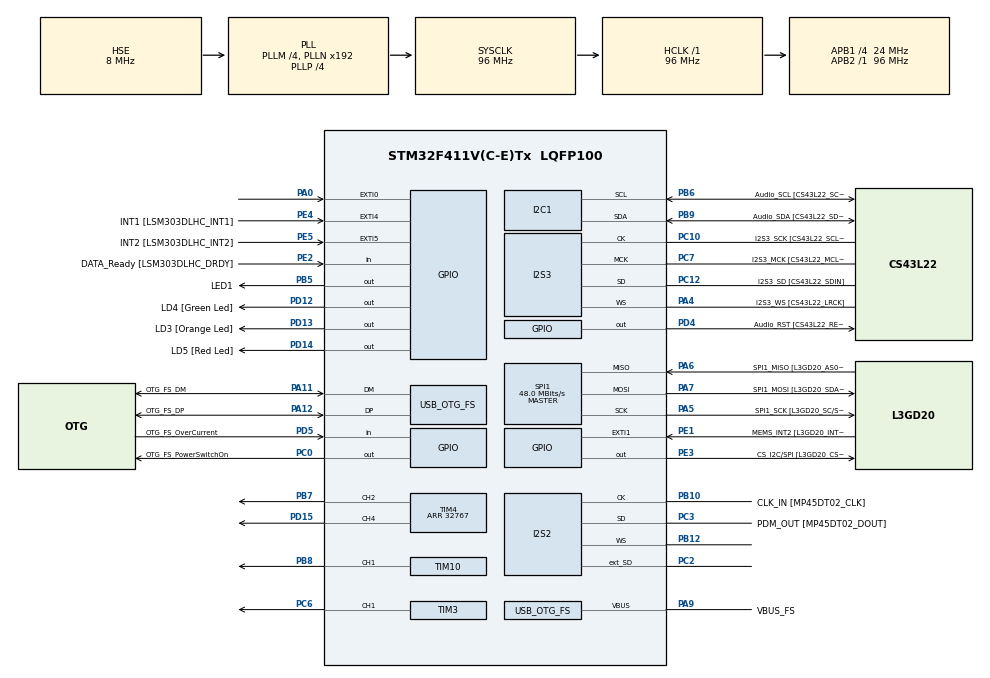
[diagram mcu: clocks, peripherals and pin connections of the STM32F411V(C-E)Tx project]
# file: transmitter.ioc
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I2S2.AudioFreq=I2S_AUDIOFREQ_96K
I2S2.ErrorAudioFreq=0.15 %
I2S2.FullDuplexMode=I2S_FULLDUPLEXMODE_ENABLE
I2S2.Instance=SPI$Index
I2S2.RealAudioFreq=96.153 KHz
I2S2.VirtualMode=I2S_MODE_MASTER
I2S3.AudioFreq=I2S_AUDIOFREQ_96K
I2S3.ErrorAudioFreq=-6.99 %
I2S3.FullDuplexMode=I2S_FULLDUPLEXMODE_DISABLE
I2S3.Instance=SPI$Index
I2S3.RealAudioFreq=89.285 KHz
I2S3.VirtualMode=I2S_MODE_MASTER
Mcu.Family=STM32F4
Mcu.Name=STM32F411V(C-E)Tx
Mcu.Package=LQFP100
NVIC.OTG_FS_IRQn=true\:0\:0\:false\:false\:true\:true\:true
NVIC.PriorityGroup=NVIC_PRIORITYGROUP_0
NVIC.TIM1_UP_TIM10_IRQn=true\:0\:0\:false\:false\:true\:true\:true
NVIC.TIM3_IRQn=true\:0\:0\:false\:false\:true\:true\:true
NVIC.TIM4_IRQn=true\:0\:0\:false\:false\:true\:true\:true
PA0-WKUP.GPIO_ModeDefaultEXTI=GPIO_MODE_EVT_RISING
PA0-WKUP.Signal=GPXTI0
PA10.GPIO_Label=OTG_FS_ID
PA10.Signal=USB_OTG_FS_ID
PA11.GPIO_Label=OTG_FS_DM
PA11.Mode=Host_Only
PA11.Signal=USB_OTG_FS_DM
PA12.GPIO_Label=OTG_FS_DP
PA12.Mode=Host_Only
PA12.Signal=USB_OTG_FS_DP
PA13.GPIO_Label=SWDIO
PA13.Mode=Serial_Wire
PA13.Signal=SYS_JTMS-SWDIO
PA14.GPIO_Label=SWCLK
PA14.Mode=Serial_Wire
PA14.Signal=SYS_JTCK-SWCLK
PA4.GPIO_Label=I2S3_WS [CS43L22_LRCK]
PA4.GPIO_Mode=GPIO_MODE_AF_PP
PA4.GPIO_PuPd=GPIO_NOPULL
PA4.GPIO_Speed=GPIO_SPEED_FREQ_LOW
PA4.Mode=Half_Duplex_Master
PA4.Signal=I2S3_WS
PA5.GPIO_Label=SPI1_SCK [L3GD20_SC/SPC]
PA5.Mode=Full_Duplex_Master
PA5.Signal=SPI1_SCK
PA6.GPIO_Label=SPI1_MISO [L3GD20_AS0/SDO]
PA6.Mode=Full_Duplex_Master
PA6.Signal=SPI1_MISO
PA7.GPIO_Label=SPI1_MOSI [L3GD20_SDA/SDI/SDO]
PA7.Mode=Full_Duplex_Master
PA7.Signal=SPI1_MOSI
PA9.GPIO_Label=VBUS_FS
PA9.Mode=Activate_VBUS
PA9.Signal=USB_OTG_FS_VBUS
PB10.GPIO_Label=CLK_IN [MP45DT02_CLK]
PB10.Mode=Full_Duplex_Master
PB10.Signal=I2S2_CK
PB12.Mode=Full_Duplex_Master
PB12.Signal=I2S2_WS
PB3.GPIO_Label=SWO
PB3.Signal=SYS_JTDO-SWO
PB5.GPIO_Label=LED1
PB5.Signal=GPIO_Output
PB6.GPIO_Label=Audio_SCL [CS43L22_SCL]
PB6.GPIO_Mode=GPIO_MODE_AF_OD
PB6.GPIO_PuPd=GPIO_NOPULL
PB6.GPIO_Speed=GPIO_SPEED_FREQ_LOW
PB6.Mode=I2C
PB6.Signal=I2C1_SCL
PB7.Signal=S_TIM4_CH2
PB8.Signal=S_TIM10_CH1
PB9.GPIO_Label=Audio_SDA [CS43L22_SDA]
PB9.GPIO_Mode=GPIO_MODE_AF_OD
PB9.GPIO_PuPd=GPIO_NOPULL
PB9.GPIO_Speed=GPIO_SPEED_FREQ_LOW
PB9.Mode=I2C
PB9.Signal=I2C1_SDA
PC0.GPIO_Label=OTG_FS_PowerSwitchOn
PC0.PinState=GPIO_PIN_SET
PC0.Signal=GPIO_Output
PC10.GPIO_Label=I2S3_SCK [CS43L22_SCLK]
PC10.GPIO_Mode=GPIO_MODE_AF_PP
PC10.GPIO_PuPd=GPIO_NOPULL
PC10.GPIO_Speed=GPIO_SPEED_FREQ_LOW
PC10.Mode=Half_Duplex_Master
PC10.Signal=I2S3_CK
PC12.GPIO_Label=I2S3_SD [CS43L22_SDIN]
PC12.GPIO_Mode=GPIO_MODE_AF_PP
PC12.GPIO_PuPd=GPIO_NOPULL
PC12.GPIO_Speed=GPIO_SPEED_FREQ_LOW
PC12.Mode=Half_Duplex_Master
PC12.Signal=I2S3_SD
PC14-OSC32_IN.GPIO_Label=PC14-OSC32_IN
PC14-OSC32_IN.Mode=LSE-External-Oscillator
PC14-OSC32_IN.Signal=RCC_OSC32_IN
PC15-OSC32_OUT.GPIO_Label=PC15-OSC32_OUT
PC15-OSC32_OUT.Mode=LSE-External-Oscillator
PC15-OSC32_OUT.Signal=RCC_OSC32_OUT
PC2.Mode=Full_Duplex_Master
PC2.Signal=I2S2_ext_SD
PC3.GPIO_Label=PDM_OUT [MP45DT02_DOUT]
PC3.Mode=Full_Duplex_Master
PC3.Signal=I2S2_SD
PC6.Signal=S_TIM3_CH1
PC7.GPIO_Label=I2S3_MCK [CS43L22_MCLK]
PC7.GPIO_Mode=GPIO_MODE_AF_PP
PC7.GPIO_PuPd=GPIO_NOPULL
PC7.GPIO_Speed=GPIO_SPEED_FREQ_LOW
PC7.Mode=Master_Clock_Activated
PC7.Signal=I2S3_MCK
PD12.GPIO_Label=LD4 [Green Led]
PD12.GPIO_PuPd=GPIO_NOPULL
PD12.GPIO_Speed=GPIO_SPEED_FREQ_LOW
PD12.Signal=GPIO_Output
PD13.GPIO_Label=LD3 [Orange Led]
PD13.GPIO_PuPd=GPIO_NOPULL
PD13.GPIO_Speed=GPIO_SPEED_FREQ_LOW
PD13.Signal=GPIO_Output
PD14.GPIO_Label=LD5 [Red Led]
PD14.GPIO_PuPd=GPIO_NOPULL
PD14.GPIO_Speed=GPIO_SPEED_FREQ_LOW
PD14.Signal=GPIO_Output
PD15.Signal=S_TIM4_CH4
PD4.GPIO_Label=Audio_RST [CS43L22_RESET]
PD4.Signal=GPIO_Output
PD5.GPIO_Label=OTG_FS_OverCurrent
PD5.Signal=GPIO_Input
PE1.GPIO_Label=MEMS_INT2 [L3GD20_INT2]
PE1.GPIO_ModeDefaultEXTI=GPIO_MODE_EVT_RISING
PE1.Signal=GPXTI1
PE2.GPIO_Label=DATA_Ready [LSM303DLHC_DRDY]
PE2.Signal=GPIO_Input
PE3.GPIO_Label=CS_I2C/SPI [L3GD20_CS_I2C/SPI]
PE3.Signal=GPIO_Output
PE4.GPIO_Label=INT1 [LSM303DLHC_INT1]
PE4.GPIO_ModeDefaultEXTI=GPIO_MODE_EVT_RISING
PE4.Signal=GPXTI4
PE5.GPIO_Label=INT2 [LSM303DLHC_INT2]
PE5.GPIO_ModeDefaultEXTI=GPIO_MODE_EVT_RISING
PE5.Signal=GPXTI5
PH0\ -\ OSC_IN.GPIO_Label=PH0-OSC_IN
PH0\ -\ OSC_IN.Mode=HSE-External-Oscillator
PH0\ -\ OSC_IN.Signal=RCC_OSC_IN
PH1\ -\ OSC_OUT.GPIO_Label=PH1-OSC_OUT
PH1\ -\ OSC_OUT.Mode=HSE-External-Oscillator
PH1\ -\ OSC_OUT.Signal=RCC_OSC_OUT
ProjectManager.HeapSize=0x200
ProjectManager.StackSize=0x400
ProjectManager.TargetToolchain=STM32CubeIDE
RCC.48MHZClocksFreq_Value=48000000
RCC.AHBFreq_Value=96000000
RCC.APB1CLKDivider=RCC_HCLK_DIV4
RCC.APB1Freq_Value=24000000
RCC.APB1TimFreq_Value=48000000
RCC.APB2Freq_Value=96000000
RCC.APB2TimFreq_Value=96000000
RCC.CortexFreq_Value=96000000
RCC.HCLKFreq_Value=96000000
RCC.HSE_VALUE=8000000
RCC.HSI_VALUE=16000000
RCC.PLLI2SM=5
RCC.PLLI2SN=200
RCC.PLLM=4
RCC.PLLP=RCC_PLLP_DIV4
RCC.PLLQ=8
RCC.SYSCLKFreq_VALUE=96000000
RCC.SYSCLKSource=RCC_SYSCLKSOURCE_PLLCLK
RCC.VCOOutputFreq_Value=384000000
SH.S_TIM10_CH1.0=TIM10_CH1,PWM Generation1 CH1
SH.S_TIM3_CH1.0=TIM3_CH1,PWM Generation1 CH1
SH.S_TIM4_CH2.0=TIM4_CH2,PWM Generation2 CH2
SH.S_TIM4_CH4.0=TIM4_CH4,PWM Generation4 CH4
SPI1.BaudRatePrescaler=SPI_BAUDRATEPRESCALER_2
SPI1.CalculateBaudRate=48.0 MBits/s
SPI1.Direction=SPI_DIRECTION_2LINES
SPI1.Mode=SPI_MODE_MASTER
SPI1.VirtualType=VM_MASTER
TIM10.Channel=TIM_CHANNEL_1
TIM10.Period=10000
TIM10.Prescaler=95
TIM3.Channel-PWM\ Generation1\ CH1=TIM_CHANNEL_1
TIM4.Channel-PWM\ Generation2\ CH2=TIM_CHANNEL_2
TIM4.Channel-PWM\ Generation4\ CH4=TIM_CHANNEL_4
TIM4.Period=32767
USB_HOST.BSP.number=1
USB_HOST.USBH_HandleTypeDef=hUsbHostFS
USB_HOST.VirtualModeFS=Cdc
USB_HOST0.BSP.STBoard=false
USB_HOST0.BSP.api=Unknown
USB_HOST0.BSP.i2caddr=0
USB_HOST0.BSP.i2creg=0
USB_HOST0.BSP.instance=PC0
USB_HOST0.BSP.ip=GPIO
USB_HOST0.BSP.mode=Output
USB_HOST0.BSP.name=Drive_VBUS_FS
USB_HOST0.BSP.solution=PC0
USB_OTG_FS.VirtualMode=Host_Only
USB_OTG_FS.phy_itface=HCD_PHY_EMBEDDED
VP_TIM10_VS_ClockSourceINT.Mode=Enable_Timer
VP_TIM3_VS_ClockSourceINT.Mode=Internal
VP_USB_HOST_VS_USB_HOST_CDC_FS.Mode=CDC_FS
board=STM32F411E-DISCO

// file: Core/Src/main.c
/* USER CODE BEGIN Header */
/**
  ******************************************************************************
  * @file           : main.c
  * @brief          : Main program body
  ******************************************************************************
  * @attention
  *
  * <h2><center>&copy; Copyright (c) 2020 STMicroelectronics.
  * All rights reserved.</center></h2>
  *
  * This software component is licensed by ST under Ultimate Liberty license
  * SLA0044, the "License"; You may not use this file except in compliance with
  * the License. You may obtain a copy of the License at:
  *                             www.st.com/SLA0044
  *
  ******************************************************************************
  */
/* USER CODE END Header */
#include "main.h"
#include "i2c.h"
#include "i2s.h"
#include "spi.h"
#include "tim.h"
#include "usb_host.h"
#include "gpio.h"

/* USER CODE BEGIN Includes */
#include <stdio.h>
#include "wav_init.h"
/* USER CODE END Includes */

void SystemClock_Config(void);
void MX_USB_HOST_Process(void);

/* USER CODE BEGIN 0 */
#define M_PI 3.14159265358979323846
// Timers
volatile uint32_t tim10_overflows = 0;

void HAL_TIM_PeriodElapsedCallback(TIM_HandleTypeDef *htim)
{
  if ( htim->Instance == TIM10 )
  {
    ++tim10_overflows;
  }
}

void TIM10_reinit()
{
 HAL_TIM_Base_Stop(&htim10);
 __HAL_TIM_SET_PRESCALER( &htim10, (96-1) );
 __HAL_TIM_SET_COUNTER( &htim10, 0 );
 tim10_overflows = 0;
 HAL_TIM_Base_Start_IT(&htim10);
}

uint32_t get_tim10_us()
{
 __HAL_TIM_DISABLE_IT(&htim10, TIM_IT_UPDATE); //! Дуже важливо!
 //__disable_irq();
 uint32_t res = tim10_overflows * 10000 + __HAL_TIM_GET_COUNTER(&htim10);
 //__enable_irq();
 __HAL_TIM_ENABLE_IT(&htim10, TIM_IT_UPDATE);
 return res;
}

void udelay_TIM10(uint32_t useconds) {
 uint32_t before = get_tim10_us();
 while( get_tim10_us() < before+useconds){}
}

//uint32_t get_amplitude(FILE* fp){
//	return 1;
//}
/* USER CODE END 0 */

int main(void)
{

  /* MCU Configuration--------------------------------------------------------*/

  /* Reset of all peripherals, Initializes the Flash interface and the Systick. */
  HAL_Init();

  /* Configure the system clock */
  SystemClock_Config();

  /* Initialize all configured peripherals */
  MX_GPIO_Init();
  MX_I2C1_Init();
  MX_I2S2_Init();
  MX_I2S3_Init();
  MX_SPI1_Init();
  MX_USB_HOST_Init();
  MX_TIM10_Init();
  MX_TIM3_Init();
  MX_TIM4_Init();

  /* Infinite loop */
  /* USER CODE BEGIN WHILE */
	HAL_TIM_PWM_Start(&htim4, TIM_CHANNEL_4);

	TIM10_reinit();

//	int lower_bound = 0;
//	int upper_bound = 60000;
//	uint32_t freq = 500;

	//  time = get_tim10_us() * 1000000;
	uint32_t start = get_tim10_us();
	double time_seconds = 0;
	TIM10_reinit();
	uint32_t just_time;
	uint32_t i = 0;
	uint32_t len = sizeof(WAV_ARR)/sizeof(WAV_ARR[0]);
	uint32_t val = 0;

  while (1)
  {

	  just_time = get_tim10_us();
//	  while (get_tim10_us() - just_time < ){
//
//	  }
	  while (get_tim10_us() - just_time < 1000000/WAV_FREQ){

	  }
	  i++;
	  if (i == len - 1){
		  i = 0;
	  }
	  val = WAV_ARR[i];
	  TIM4->CCR4 = val;

//	  TIM4->CCR4 = 8192;
//	  just_time = get_tim10_us();
//	  while (get_tim10_us() - just_time < 10000){
//
//	  }
//	  TIM4->CCR4 = 16384;
//	  just_time = get_tim10_us();
//	  while (get_tim10_us() - just_time < 10000){
//
//	  }
//	  TIM4->CCR4 = 32767;
//	  just_time = get_tim10_us();
//	  while (get_tim10_us() - just_time < 10000){
//
//	  }

    /* USER CODE END WHILE */
    MX_USB_HOST_Process();

  }
}

void SystemClock_Config(void)
{
  RCC_OscInitTypeDef RCC_OscInitStruct = {0};
  RCC_ClkInitTypeDef RCC_ClkInitStruct = {0};
  RCC_PeriphCLKInitTypeDef PeriphClkInitStruct = {0};

  /** Configure the main internal regulator output voltage
  */
  __HAL_RCC_PWR_CLK_ENABLE();
  __HAL_PWR_VOLTAGESCALING_CONFIG(PWR_REGULATOR_VOLTAGE_SCALE1);
  /** Initializes the RCC Oscillators according to the specified parameters
  * in the RCC_OscInitTypeDef structure.
  */
  RCC_OscInitStruct.OscillatorType = RCC_OSCILLATORTYPE_HSE;
  RCC_OscInitStruct.HSEState = RCC_HSE_ON;
  RCC_OscInitStruct.PLL.PLLState = RCC_PLL_ON;
  RCC_OscInitStruct.PLL.PLLSource = RCC_PLLSOURCE_HSE;
  RCC_OscInitStruct.PLL.PLLM = 4;
  RCC_OscInitStruct.PLL.PLLN = 192;
  RCC_OscInitStruct.PLL.PLLP = RCC_PLLP_DIV4;
  RCC_OscInitStruct.PLL.PLLQ = 8;
  if (HAL_RCC_OscConfig(&RCC_OscInitStruct) != HAL_OK)
  {
    Error_Handler();
  }
  /** Initializes the CPU, AHB and APB buses clocks
  */
  RCC_ClkInitStruct.ClockType = RCC_CLOCKTYPE_HCLK|RCC_CLOCKTYPE_SYSCLK
                              |RCC_CLOCKTYPE_PCLK1|RCC_CLOCKTYPE_PCLK2;
  RCC_ClkInitStruct.SYSCLKSource = RCC_SYSCLKSOURCE_PLLCLK;
  RCC_ClkInitStruct.AHBCLKDivider = RCC_SYSCLK_DIV1;
  RCC_ClkInitStruct.APB1CLKDivider = RCC_HCLK_DIV4;
  RCC_ClkInitStruct.APB2CLKDivider = RCC_HCLK_DIV1;

  if (HAL_RCC_ClockConfig(&RCC_ClkInitStruct, FLASH_LATENCY_3) != HAL_OK)
  {
    Error_Handler();
  }
  PeriphClkInitStruct.PeriphClockSelection = RCC_PERIPHCLK_I2S;
  PeriphClkInitStruct.PLLI2S.PLLI2SN = 200;
  PeriphClkInitStruct.PLLI2S.PLLI2SM = 5;
  PeriphClkInitStruct.PLLI2S.PLLI2SR = 2;
  if (HAL_RCCEx_PeriphCLKConfig(&PeriphClkInitStruct) != HAL_OK)
  {
    Error_Handler();
  }
}

void Error_Handler(void)
{
}

/************************ (C) COPYRIGHT STMicroelectronics *****END OF FILE****/
